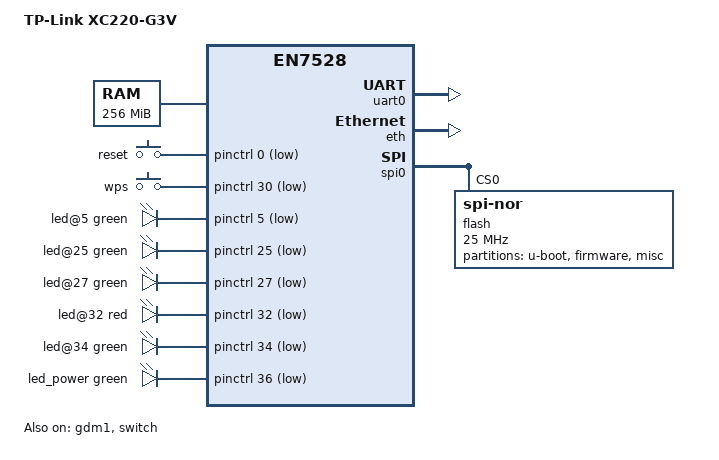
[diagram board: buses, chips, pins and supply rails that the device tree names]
// SPDX-License-Identifier: GPL-2.0
/dts-v1/;

#include "econet,en7528.dtsi"

/ {
	model = "TP-Link XC220-G3V";
	compatible = "tplink,xc220-g3v", "econet,en7528", "airoha,en7528";

	memory@0 {
		device_type = "memory";
		reg = <0x00000000 0x10000000>;
	};

	chosen {
		stdout-path = "serial0:115200n8";
	};

	keys {
		compatible = "gpio-keys-polled";
		poll-interval = <100>;

		reset {
			label = "reset";
			linux,code = <KEY_RESTART>;
			gpios = <&pinctrl 0 GPIO_ACTIVE_LOW>;
			debounce-interval = <60>;
		};

		wps {
			label = "wps";
			linux,code = <KEY_WPS_BUTTON>;
			gpios = <&pinctrl 30 GPIO_ACTIVE_LOW>;
			debounce-interval = <60>;
		};
	};

	leds {
		compatible = "gpio-leds";

		// Wireless
		led@5 {
			color = <LED_COLOR_ID_GREEN>;
			function = LED_FUNCTION_WLAN;
			function-enumerator = <5>;
			gpios = <&pinctrl 5 GPIO_ACTIVE_LOW>;
		};

		// Internet
		led@25 {
			color = <LED_COLOR_ID_GREEN>;
			function = LED_FUNCTION_WAN_ONLINE;
			function-enumerator = <25>;
			gpios = <&pinctrl 25 GPIO_ACTIVE_LOW>;
		};

		// FXS1
		led@27 {
			color = <LED_COLOR_ID_GREEN>;
			function = LED_FUNCTION_VOIP;
			function-enumerator = <27>;
			gpios = <&pinctrl 27 GPIO_ACTIVE_LOW>;
		};

		// LOS
		led@32 {
			color = <LED_COLOR_ID_RED>;
			function = LED_FUNCTION_XPON_LOS;
			function-enumerator = <32>;
			gpios = <&pinctrl 32 GPIO_ACTIVE_LOW>;
		};

		// xPON
		led@34 {
			color = <LED_COLOR_ID_GREEN>;
			function = LED_FUNCTION_XPON;
			function-enumerator = <34>;
			gpios = <&pinctrl 34 GPIO_ACTIVE_LOW>;
		};

		// Power
		led_power: led@36 {
			color = <LED_COLOR_ID_GREEN>;
			function = LED_FUNCTION_POWER;
			function-enumerator = <36>;
			gpios = <&pinctrl 36 GPIO_ACTIVE_LOW>;
			default-state = "on";
		};
	};
};

&uart0 {
	status = "okay";
};

&eth {
	status = "okay";
};

&gdm1 {
	status = "okay";
};

&switch {
	status = "okay";
};

&spi0 {
	status = "okay";

	flash@0 {
		compatible = "jedec,spi-nor";
		reg = <0>;
		spi-max-frequency = <25000000>;
		spi-tx-bus-width = <1>;
		spi-rx-bus-width = <1>;

		partitions {
			compatible = "fixed-partitions";
			#address-cells = <1>;
			#size-cells = <1>;

			partition@0 {
				label = "u-boot";
				reg = <0x000000 0x100000>;
			};

			partition@100000 {
				label = "firmware";
				reg = <0x100000 0xe40000>;
			};

			partition@f40000 {
				label = "misc";
				reg = <0xf40000 0x0c0000>;
			};
		};
	};
};
